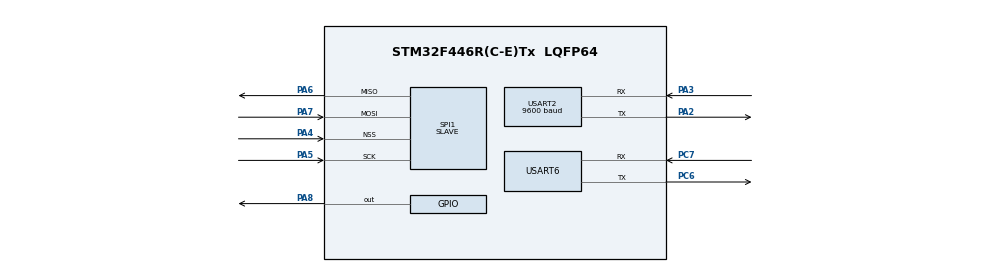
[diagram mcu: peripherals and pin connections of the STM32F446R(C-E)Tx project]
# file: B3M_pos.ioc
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Mcu.Family=STM32F4
Mcu.Name=STM32F446R(C-E)Tx
Mcu.Package=LQFP64
NVIC.PriorityGroup=NVIC_PRIORITYGROUP_4
PA13.Mode=Serial_Wire
PA13.Signal=SYS_JTMS-SWDIO
PA14.Mode=Serial_Wire
PA14.Signal=SYS_JTCK-SWCLK
PA2.Mode=Asynchronous
PA2.Signal=USART2_TX
PA3.Mode=Asynchronous
PA3.Signal=USART2_RX
PA4.Mode=NSS_Signal_Hard_Input
PA4.Signal=SPI1_NSS
PA5.Mode=Full_Duplex_Slave
PA5.Signal=SPI1_SCK
PA6.Mode=Full_Duplex_Slave
PA6.Signal=SPI1_MISO
PA7.Mode=Full_Duplex_Slave
PA7.Signal=SPI1_MOSI
PA8.GPIO_PuPd=GPIO_PULLDOWN
PA8.Signal=GPIO_Output
PC6.Mode=Asynchronous
PC6.Signal=USART6_TX
PC7.Mode=Asynchronous
PC7.Signal=USART6_RX
ProjectManager.HeapSize=0x200
ProjectManager.StackSize=0x400
ProjectManager.TargetToolchain=STM32CubeIDE
RCC.CortexFreq_Value=16000000
RCC.USBFreq_Value=96000000
RCC.VCOOutputFreq_Value=192000000
SPI1.Direction=SPI_DIRECTION_2LINES
SPI1.Mode=SPI_MODE_SLAVE
SPI1.VirtualNSS=VM_NSSHARD
SPI1.VirtualType=VM_SLAVE
USART2.BaudRate=9600
USART2.VirtualMode=VM_ASYNC
USART6.VirtualMode=VM_ASYNC
board=custom

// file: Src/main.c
/* USER CODE BEGIN Header */
/**
  ******************************************************************************
  * @file           : main.c
  * @brief          : Main program body
  ******************************************************************************
  * @attention
  *
  * <h2><center>&copy; Copyright (c) 2019 STMicroelectronics.
  * All rights reserved.</center></h2>
  *
  * This software component is licensed by ST under BSD 3-Clause license,
  * the "License"; You may not use this file except in compliance with the
  * License. You may obtain a copy of the License at:
  *                        opensource.org/licenses/BSD-3-Clause
  *
  ******************************************************************************
  */
/* USER CODE END Header */

#include "main.h"

SPI_HandleTypeDef hspi1;

UART_HandleTypeDef huart2;
UART_HandleTypeDef huart6;

void SystemClock_Config(void);
static void MX_GPIO_Init(void);
static void MX_SPI1_Init(void);
static void MX_USART2_UART_Init(void);
static void MX_USART6_UART_Init(void);

int main(void)
{

  /* MCU Configuration--------------------------------------------------------*/

  /* Reset of all peripherals, Initializes the Flash interface and the Systick. */
  HAL_Init();

  /* Configure the system clock */
  SystemClock_Config();

  /* Initialize all configured peripherals */
  MX_GPIO_Init();
  MX_SPI1_Init();
  MX_USART2_UART_Init();
  MX_USART6_UART_Init();
  /* USER CODE BEGIN 2 */

  char rxbuf[]="waiting\r\n";
  uint8_t txdata[20] = {0};
  unsigned char rxdata[9] = {0};
  uint8_t aRxBuffer[10]={0};
  char PC_txdata[256]={'なんでもいいからおくって\0'};
  short pos_data;

  void pos(unsigned char id,short deg,unsigned short time)
  {
      unsigned char deg_l = (unsigned char)(deg)&0x00FF;
      unsigned char deg_h = (unsigned char)(deg>>8)&0x00FF;
      unsigned char time_l = (unsigned char)(time)&0x00FF;
      unsigned char time_h = (unsigned char)(time>>8)&0x00FF;
      unsigned char sum = (0x09+0x06+id+deg_l+deg_h+time_l+time_h)&0x00FF;

      HAL_GPIO_WritePin(GPIOA, GPIO_PIN_8, 1);
      txdata[0]=0x09;   //1 SIZE
      txdata[1]=0x06;   //2 COMMAND
      txdata[2]=0x00;   //3 OPTION
      txdata[3]=id;     //4 ID
      txdata[4]=deg_l;  //5 POS_L
      txdata[5]=deg_h;  //6 POS_H
      txdata[6]=time_l; //7 TIME_L
      txdata[7]=time_h; //8 TIME_H
      txdata[8]=sum;    //9 SUM
      HAL_UART_Transmit(&huart6, txdata, 9, 0xFFFF);
      HAL_GPIO_WritePin(GPIOA, GPIO_PIN_8, 0);
      HAL_Delay(0.3);
  }
/*    void pos_multi(unsigned char id,short deg,unsigned char id2,short deg2,unsigned short time)
  {
      unsigned char deg_l = (unsigned char)(deg)&0x00FF;
      unsigned char deg_h = (unsigned char)(deg>>8)&0x00FF;
      unsigned char deg2_l = (unsigned char)(deg2)&0x00FF;
      unsigned char deg2_h = (unsigned char)(deg2>>8)&0x00FF;
      unsigned char time_l = (unsigned char)(time)&0x00FF;
      unsigned char time_h = (unsigned char)(time>>8)&0x00FF;
      unsigned char sum = (0x09+0x06+id+deg_l+deg_h+id2+deg2_l+deg2_h+time_l+time_h)&0x00FF;

      txdata[0]=0x09;   //1 SIZE
      txdata[1]=0x06;   //2 COMMAND
      txdata[2]=0x00;   //3 OPTION
      txdata[3]=id;     //4 ID
      txdata[4]=deg_l;  //5 POS_L
      txdata[5]=deg_h;  //6 POS_H
      txdata[6]=id2;     //4 ID2
      txdata[7]=deg2_l;  //5 POS2_L
      txdata[8]=deg2_h;  //6 POS2_H
      txdata[9]=time_l; //7 TIME_L
      txdata[10]=time_h; //8 TIME_H
      txdata[11]=sum;    //9 SUM
      HAL_Delay(0.03);

  }*/

    void speed(unsigned char id,short speed)
    {
        unsigned char speed_l = (unsigned char)(speed)&0x00FF;
        unsigned char speed_h = (unsigned char)(speed>>8)&0x00FF;
        unsigned char sum = (0x09+0x04+0x00+id+speed_l+speed_h+0x30+0x01)&0x00FF;

        HAL_GPIO_WritePin(GPIOA, GPIO_PIN_8, 1);

        txdata[0]=0x09;//SIZE
        txdata[1]=0x04;//COMMAND
        txdata[2]=0x00;//OPTION
        txdata[3]=id;//ID
        txdata[4]=speed_l;//SPEED_LOWBYTE
        txdata[5]=speed_h;//SPEED_HIGHBYTE
        txdata[6]=0x30;//ADRESS(SPEED 0x03)
        txdata[7]=0x01;//COUNT
        txdata[8]=sum;//SUM
        HAL_UART_Transmit(&huart6, txdata, 9, 0xFFFF);
        HAL_GPIO_WritePin(GPIOA, GPIO_PIN_8, 0);
        HAL_Delay(1);
    }

    void write(unsigned char id,unsigned char data,unsigned char adress)
    {
        unsigned char sum = (0x08+0x04+0x00+id+data+adress+0x01)&0x00FF;
       HAL_GPIO_WritePin(GPIOA, GPIO_PIN_8, 1);
       txdata[0]=0x08;   //1 SIZE
       txdata[1]=0x04;   //2 COMMAND
       txdata[2]=0x00;   //3 OPTION
       txdata[3]=id;     //4 ID
       txdata[4]=data;  //DATA
       txdata[5]=adress;  //ADRESS
       txdata[6]=0x01; //COUNT
       txdata[7]=sum;    //9 SUM
       HAL_UART_Transmit(&huart6, txdata, 8, 0xFFFF);

       HAL_GPIO_WritePin(GPIOA, GPIO_PIN_8, 0);
       HAL_Delay(1);

    }

  /* USER CODE END 2 */

  /* Infinite loop */
  while (1)
  {

    /* USER CODE BEGIN 3 */
	  write(0xFF,0x00,0x28);
	  write(0xFF,0x01,0x29);

	  while(1){
		  HAL_UART_Transmit(&huart2, (uint8_t*)rxbuf,sizeof(rxbuf),0xFFFF);
		  HAL_UART_Receive(&huart2,rxdata,10,0x100);
		  HAL_SPI_TransmitReceive(&hspi1,(uint8_t*)PC_txdata,(uint8_t*)rxdata,1,0xFF);
		  write(0xFF,0x00,0x28);
		  write(0xFF,0x01,0x29);
		  if(rxdata[0]!=0){
			  break;
		  }
	  }
	  rxdata[0]=0;

/*	  pos_multi(2,7000,8,-24000,2000);
	  HAL_GPIO_WritePin(GPIOA, GPIO_PIN_8, 1);
	  HAL_UART_Transmit(&huart6, txdata, 12, 0xFFFF);
	  HAL_Delay(100);
	  HAL_GPIO_WritePin(GPIOA, GPIO_PIN_8, 1);
	  HAL_Delay(2000);

	  pos_multi(2,0,8,-15000,2000);
	  HAL_GPIO_WritePin(GPIOA, GPIO_PIN_8, 1);
	  HAL_UART_Transmit(&huart6, txdata, 12, 0xFFFF);
	  HAL_Delay(100);
	  HAL_GPIO_WritePin(GPIOA, GPIO_PIN_8, 0);
	  HAL_Delay(2000);*/

//Deploy
	  pos(2,7000,2000);
	  HAL_Delay(1);
	  pos(8,-24000,2000);
	  HAL_Delay(2000);

	  pos(2,-1000,2000);
	  HAL_Delay(1);
	  pos(8,-15000,2000);
	  HAL_Delay(2000);

	  pos(3,0,2000);
	  HAL_Delay(1);
	  pos(9,0,2000);
	  HAL_Delay(1);

	  pos(1,0,2000);
	  HAL_Delay(1);
	  pos(7,0,2000);
	  HAL_Delay(1000);
	  pos(8,3000,3000);
	  HAL_Delay(1);
	  pos(2,-2000,2000);
	  HAL_Delay(4000);

	  while(1){
		  HAL_UART_Transmit(&huart2, (uint8_t*)rxbuf,sizeof(rxbuf),0xFFFF);
		  HAL_UART_Receive(&huart2,rxdata,10,0x100);
		  HAL_SPI_TransmitReceive(&hspi1,(uint8_t*)PC_txdata,(uint8_t*)rxdata,1,0xFF);
		  write(0xFF,0x00,0x28);
		  write(0xFF,0x01,0x29);
		  if(rxdata[0]!=0){
			  break;
		  }
	  }
	  rxdata[0]=0;

//roll movement
	  write(0x02,0x04,0x28);
      write(0x08,0x04,0x28);
      HAL_Delay(1000);
      speed(8,5000);
      HAL_Delay(1);
      speed(2,-5000);
      HAL_Delay(1000);

//	  HAL_Delay(5000);
//	  speed(8,0);
//	  HAL_Delay(1);

	  while(1){
		  HAL_UART_Transmit(&huart2, (uint8_t*)rxbuf,sizeof(rxbuf),0xFFFF);
		  HAL_UART_Receive(&huart2,rxdata,10,0x100);
		  HAL_SPI_TransmitReceive(&hspi1,(uint8_t*)PC_txdata,(uint8_t*)rxdata,1,0xFF);
		  if(rxdata[0]!=0){
			  break;
		  }
	  }
	  rxdata[0]=0;

/*	  write(0xFF,0x00,0x28);
	  write(0xFF,0x01,0x29);
	  HAL_Delay(1000);*/
	  write(0xFF,0x00,0x28);
	  write(0xFF,0x01,0x29);

//右足格?��?
	  pos(8,-15000,3000);
 	  HAL_Delay(3000);

	  pos(2,0,3000);
	  HAL_Delay(3000);
	  pos(1,9500,2000);
	  HAL_Delay(1);

	  pos(7,-9000,2000);
	  HAL_Delay(1);
	  pos(9,9000,2000);
	  HAL_Delay(1);

	  pos(3,9000,2000);
	  HAL_Delay(2000);

  }
  /* USER CODE END 3 */
}

void SystemClock_Config(void)
{
  RCC_OscInitTypeDef RCC_OscInitStruct = {0};
  RCC_ClkInitTypeDef RCC_ClkInitStruct = {0};

  /** Configure the main internal regulator output voltage
  */
  __HAL_RCC_PWR_CLK_ENABLE();
  __HAL_PWR_VOLTAGESCALING_CONFIG(PWR_REGULATOR_VOLTAGE_SCALE3);
  /** Initializes the CPU, AHB and APB busses clocks
  */
  RCC_OscInitStruct.OscillatorType = RCC_OSCILLATORTYPE_HSI;
  RCC_OscInitStruct.HSIState = RCC_HSI_ON;
  RCC_OscInitStruct.HSICalibrationValue = RCC_HSICALIBRATION_DEFAULT;
  RCC_OscInitStruct.PLL.PLLState = RCC_PLL_NONE;
  if (HAL_RCC_OscConfig(&RCC_OscInitStruct) != HAL_OK)
  {
    Error_Handler();
  }
  /** Initializes the CPU, AHB and APB busses clocks
  */
  RCC_ClkInitStruct.ClockType = RCC_CLOCKTYPE_HCLK|RCC_CLOCKTYPE_SYSCLK
                              |RCC_CLOCKTYPE_PCLK1|RCC_CLOCKTYPE_PCLK2;
  RCC_ClkInitStruct.SYSCLKSource = RCC_SYSCLKSOURCE_HSI;
  RCC_ClkInitStruct.AHBCLKDivider = RCC_SYSCLK_DIV1;
  RCC_ClkInitStruct.APB1CLKDivider = RCC_HCLK_DIV1;
  RCC_ClkInitStruct.APB2CLKDivider = RCC_HCLK_DIV1;

  if (HAL_RCC_ClockConfig(&RCC_ClkInitStruct, FLASH_LATENCY_0) != HAL_OK)
  {
    Error_Handler();
  }
}

static void MX_SPI1_Init(void)
{

  /* SPI1 parameter configuration*/
  hspi1.Instance = SPI1;
  hspi1.Init.Mode = SPI_MODE_SLAVE;
  hspi1.Init.Direction = SPI_DIRECTION_2LINES;
  hspi1.Init.DataSize = SPI_DATASIZE_8BIT;
  hspi1.Init.CLKPolarity = SPI_POLARITY_LOW;
  hspi1.Init.CLKPhase = SPI_PHASE_1EDGE;
  hspi1.Init.NSS = SPI_NSS_HARD_INPUT;
  hspi1.Init.FirstBit = SPI_FIRSTBIT_MSB;
  hspi1.Init.TIMode = SPI_TIMODE_DISABLE;
  hspi1.Init.CRCCalculation = SPI_CRCCALCULATION_DISABLE;
  hspi1.Init.CRCPolynomial = 10;
  if (HAL_SPI_Init(&hspi1) != HAL_OK)
  {
    Error_Handler();
  }

}

static void MX_USART2_UART_Init(void)
{

  huart2.Instance = USART2;
  huart2.Init.BaudRate = 9600;
  huart2.Init.WordLength = UART_WORDLENGTH_8B;
  huart2.Init.StopBits = UART_STOPBITS_1;
  huart2.Init.Parity = UART_PARITY_NONE;
  huart2.Init.Mode = UART_MODE_TX_RX;
  huart2.Init.HwFlowCtl = UART_HWCONTROL_NONE;
  huart2.Init.OverSampling = UART_OVERSAMPLING_16;
  if (HAL_UART_Init(&huart2) != HAL_OK)
  {
    Error_Handler();
  }

}

static void MX_USART6_UART_Init(void)
{

  huart6.Instance = USART6;
  huart6.Init.BaudRate = 115200;
  huart6.Init.WordLength = UART_WORDLENGTH_8B;
  huart6.Init.StopBits = UART_STOPBITS_1;
  huart6.Init.Parity = UART_PARITY_NONE;
  huart6.Init.Mode = UART_MODE_TX_RX;
  huart6.Init.HwFlowCtl = UART_HWCONTROL_NONE;
  huart6.Init.OverSampling = UART_OVERSAMPLING_16;
  if (HAL_UART_Init(&huart6) != HAL_OK)
  {
    Error_Handler();
  }

}

static void MX_GPIO_Init(void)
{
  GPIO_InitTypeDef GPIO_InitStruct = {0};

  /* GPIO Ports Clock Enable */
  __HAL_RCC_GPIOA_CLK_ENABLE();
  __HAL_RCC_GPIOC_CLK_ENABLE();

  /*Configure GPIO pin Output Level */
  HAL_GPIO_WritePin(GPIOA, GPIO_PIN_8, GPIO_PIN_RESET);

  /*Configure GPIO pin : PA8 */
  GPIO_InitStruct.Pin = GPIO_PIN_8;
  GPIO_InitStruct.Mode = GPIO_MODE_OUTPUT_PP;
  GPIO_InitStruct.Pull = GPIO_PULLDOWN;
  GPIO_InitStruct.Speed = GPIO_SPEED_FREQ_LOW;
  HAL_GPIO_Init(GPIOA, &GPIO_InitStruct);

}

void Error_Handler(void)
{
}

/************************ (C) COPYRIGHT STMicroelectronics *****END OF FILE****/
